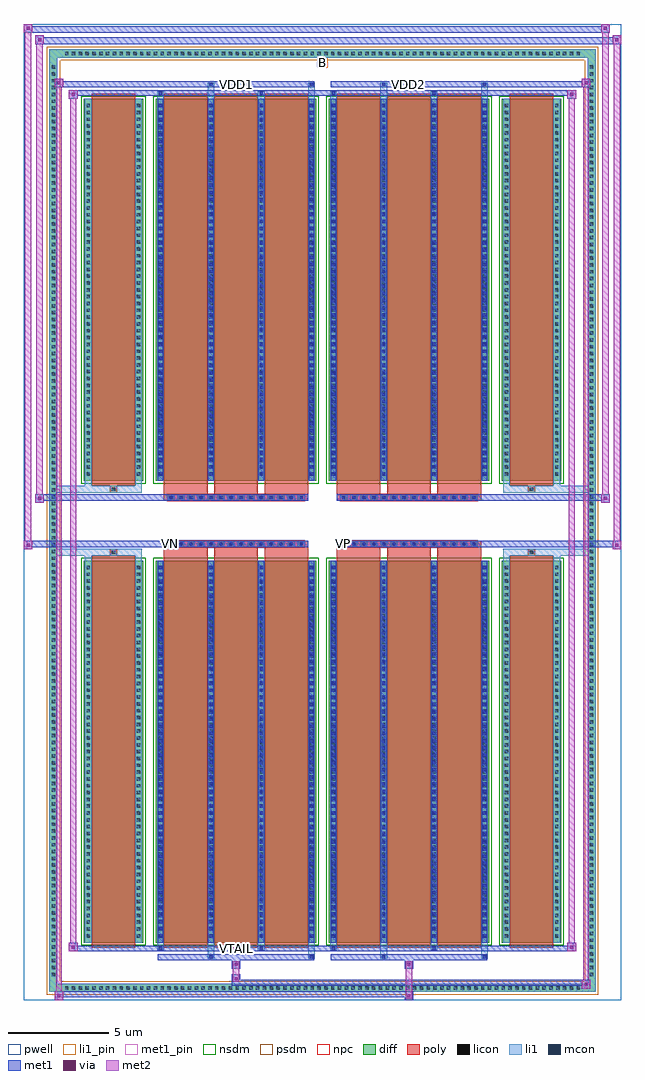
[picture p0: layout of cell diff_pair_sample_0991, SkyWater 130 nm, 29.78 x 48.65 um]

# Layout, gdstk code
import gdstk
lib = gdstk.Library(unit=1e-6, precision=5e-09)
def R(c, l, rs):  # rectangles x0, y0, x1, y1
    for r in rs: c.add(gdstk.rectangle(r[:2], r[2:], *l))
def A(c, l, x, y, w, h, nx, ny, dx, dy):  # array of equal rectangles
    R(c, l, [(x+i*dx, y+j*dy, x+i*dx+w, y+j*dy+h) for i in range(nx) for j in range(ny)])
def P(c, l, *ps):  # polygons
    for p in ps: c.add(gdstk.Polygon(p, *l))
pwell = (64, 44)
diff = (65, 20)
poly = (66, 20)
licon = (66, 44)
li1_pin = (67, 16)
li1 = (67, 20)
mcon = (67, 44)
met1_pin = (68, 16)
met1 = (68, 20)
via = (68, 44)
met2 = (69, 20)
nsdm = (93, 44)
psdm = (94, 20)
npc = (95, 20)

diff_pair_sample_0991 = lib.new_cell('diff_pair_sample_0991')
R(diff_pair_sample_0991, pwell, [(-14.89,-23.89,14.89,24.76), (-12.21,-22.08,-0.01,-0.8), (0.01,-22.08,12.21,-0.8), (-12.21,0.8,-0.01,22.08), (0.01,0.8,12.21,22.08)])
A(diff_pair_sample_0991, diff, -12.955, -23.49, 0.41, 0.41, 76, 2, 0.34, 46.57)
A(diff_pair_sample_0991, diff, -13.62, -22.815, 0.41, 0.41, 1, 134, 0, 0.34)
A(diff_pair_sample_0991, diff, 13.21, -22.815, 0.41, 0.41, 1, 134, 0, 0.34)
R(diff_pair_sample_0991, diff, [(-12.955,-23.49,12.955,-23.08), (-13.62,-22.815,-13.21,22.815), (13.21,-22.815,13.62,22.815), (-11.9,-21.035,-8.94,-1.985), (-8.3,-21.035,-0.32,-1.985), (0.32,-21.035,8.3,-1.985), (8.94,-21.035,11.9,-1.985), (-11.9,1.985,-8.94,21.035), (-8.3,1.985,-0.32,21.035), (0.32,1.985,8.3,21.035), (8.94,1.985,11.9,21.035), (-12.955,23.08,12.955,23.49)])
P(diff_pair_sample_0991, diff, [(13.62,23.49),(-13.62,23.49),(-13.62,-23.08),(-13.21,-23.08),(-13.21,23.08),(13.21,23.08),(13.21,-23.08),(-13.21,-23.08),(-13.62,-23.08),(-13.62,-23.49),(13.62,-23.49)])
A(diff_pair_sample_0991, poly, -7.91, -21.285, 2.18, 19.55, 3, 2, 2.51, 23.02)
A(diff_pair_sample_0991, poly, 0.71, -21.285, 2.18, 19.55, 3, 2, 2.51, 23.02)
A(diff_pair_sample_0991, poly, -7.91, -1.735, 2.18, 0.405, 3, 2, 2.51, 3.065)
A(diff_pair_sample_0991, poly, 0.71, -1.735, 2.18, 0.405, 3, 2, 2.51, 3.065)
A(diff_pair_sample_0991, poly, -7.725, -1.33, 0.33, 0.33, 14, 2, 0.5, 2.33)
A(diff_pair_sample_0991, poly, 0.895, -1.33, 0.33, 0.33, 14, 2, 0.5, 2.33)
R(diff_pair_sample_0991, poly, [(-11.51,-21.285,-9.33,-1.735), (9.33,-21.285,11.51,-1.735), (-10.585,-1.735,-10.255,-1.405), (-10.585,-1.735,-10.255,-1.405), (10.255,-1.735,10.585,-1.405), (10.255,-1.735,10.585,-1.405), (-7.91,-1.33,-0.71,-1), (0.71,-1.33,7.91,-1), (-7.91,1,-0.71,1.33), (0.71,1,7.91,1.33), (-10.585,1.405,-10.255,1.735), (-10.585,1.405,-10.255,1.735), (10.255,1.405,10.585,1.735), (10.255,1.405,10.585,1.735), (-11.51,1.735,-9.33,21.285), (9.33,1.735,11.51,21.285)])
A(diff_pair_sample_0991, licon, -12.835, -23.37, 0.17, 0.17, 76, 2, 0.34, 46.57)
A(diff_pair_sample_0991, licon, -13.5, -22.695, 0.17, 0.17, 1, 134, 0, 0.34)
A(diff_pair_sample_0991, licon, 13.33, -22.695, 0.17, 0.17, 1, 134, 0, 0.34)
A(diff_pair_sample_0991, licon, -11.76, -20.775, 0.17, 0.17, 1, 55, 0, 0.34)
A(diff_pair_sample_0991, licon, -9.25, -20.775, 0.17, 0.17, 1, 55, 0, 0.34)
A(diff_pair_sample_0991, licon, -8.16, -20.775, 0.17, 0.17, 4, 55, 2.51, 0.34)
A(diff_pair_sample_0991, licon, 0.46, -20.775, 0.17, 0.17, 4, 55, 2.51, 0.34)
A(diff_pair_sample_0991, licon, 9.08, -20.775, 0.17, 0.17, 1, 55, 0, 0.34)
A(diff_pair_sample_0991, licon, 11.59, -20.775, 0.17, 0.17, 1, 55, 0, 0.34)
A(diff_pair_sample_0991, licon, -7.645, -1.25, 0.17, 0.17, 14, 2, 0.5, 2.33)
A(diff_pair_sample_0991, licon, 0.975, -1.25, 0.17, 0.17, 14, 2, 0.5, 2.33)
A(diff_pair_sample_0991, licon, -11.76, 2.245, 0.17, 0.17, 1, 55, 0, 0.34)
A(diff_pair_sample_0991, licon, -9.25, 2.245, 0.17, 0.17, 1, 55, 0, 0.34)
A(diff_pair_sample_0991, licon, -8.16, 2.245, 0.17, 0.17, 4, 55, 2.51, 0.34)
A(diff_pair_sample_0991, licon, 0.46, 2.245, 0.17, 0.17, 4, 55, 2.51, 0.34)
A(diff_pair_sample_0991, licon, 9.08, 2.245, 0.17, 0.17, 1, 55, 0, 0.34)
A(diff_pair_sample_0991, licon, 11.59, 2.245, 0.17, 0.17, 1, 55, 0, 0.34)
R(diff_pair_sample_0991, licon, [(-10.505,-1.655,-10.335,-1.485), (10.335,-1.655,10.505,-1.485), (-10.505,1.485,-10.335,1.655), (10.335,1.485,10.505,1.655)])
R(diff_pair_sample_0991, li1_pin, [(-0.25,22.58,0.25,23.08)])
A(diff_pair_sample_0991, li1, -12.915, -23.45, 0.33, 0.33, 76, 2, 0.34, 46.57)
A(diff_pair_sample_0991, li1, -13.58, -22.775, 0.33, 0.33, 1, 134, 0, 0.34)
A(diff_pair_sample_0991, li1, 13.25, -22.775, 0.33, 0.33, 1, 134, 0, 0.34)
A(diff_pair_sample_0991, li1, -8.24, -21.035, 0.33, 19.05, 4, 2, 2.51, 23.02)
A(diff_pair_sample_0991, li1, 0.38, -21.035, 0.33, 19.05, 4, 2, 2.51, 23.02)
A(diff_pair_sample_0991, li1, -11.84, -20.855, 0.33, 0.33, 1, 55, 0, 0.34)
A(diff_pair_sample_0991, li1, -9.33, -20.855, 0.33, 0.33, 1, 55, 0, 0.34)
A(diff_pair_sample_0991, li1, -8.24, -20.855, 0.33, 0.33, 4, 55, 2.51, 0.34)
A(diff_pair_sample_0991, li1, 0.38, -20.855, 0.33, 0.33, 4, 55, 2.51, 0.34)
A(diff_pair_sample_0991, li1, 9, -20.855, 0.33, 0.33, 1, 55, 0, 0.34)
A(diff_pair_sample_0991, li1, 11.51, -20.855, 0.33, 0.33, 1, 55, 0, 0.34)
A(diff_pair_sample_0991, li1, -8.16, -20.775, 0.17, 0.17, 4, 52, 2.51, 0.36)
A(diff_pair_sample_0991, li1, -8.16, -20.775, 0.17, 18.53, 4, 2, 2.51, 23.02)
A(diff_pair_sample_0991, li1, 0.46, -20.775, 0.17, 0.17, 4, 52, 2.51, 0.36)
A(diff_pair_sample_0991, li1, 0.46, -20.775, 0.17, 18.53, 4, 2, 2.51, 23.02)
A(diff_pair_sample_0991, li1, -7.725, -1.33, 0.33, 0.33, 14, 2, 0.5, 2.33)
A(diff_pair_sample_0991, li1, 0.895, -1.33, 0.33, 0.33, 14, 2, 0.5, 2.33)
A(diff_pair_sample_0991, li1, -11.84, 2.165, 0.33, 0.33, 1, 55, 0, 0.34)
A(diff_pair_sample_0991, li1, -9.33, 2.165, 0.33, 0.33, 1, 55, 0, 0.34)
A(diff_pair_sample_0991, li1, -8.24, 2.165, 0.33, 0.33, 4, 55, 2.51, 0.34)
A(diff_pair_sample_0991, li1, 0.38, 2.165, 0.33, 0.33, 4, 55, 2.51, 0.34)
A(diff_pair_sample_0991, li1, 9, 2.165, 0.33, 0.33, 1, 55, 0, 0.34)
A(diff_pair_sample_0991, li1, 11.51, 2.165, 0.33, 0.33, 1, 55, 0, 0.34)
A(diff_pair_sample_0991, li1, -8.16, 2.245, 0.17, 0.17, 4, 52, 2.51, 0.36)
A(diff_pair_sample_0991, li1, 0.46, 2.245, 0.17, 0.17, 4, 52, 2.51, 0.36)
R(diff_pair_sample_0991, li1, [(-13.62,-23.49,-13.21,-23.08), (-13.62,-23.49,-13.21,-23.08), (-13.21,-23.49,13.21,-23.08), (13.21,-23.49,13.62,-23.08), (13.21,-23.49,13.62,-23.08), (-13.62,-23.08,-13.21,23.08), (13.21,-23.08,13.62,23.08), (-5.73,-21.84,-5.4,-21.035), (-5.65,-21.84,-5.48,-21.67), (-0.71,-21.84,-0.38,-21.035), (-0.63,-21.84,-0.46,-21.67), (2.89,-21.84,3.22,-21.035), (2.97,-21.84,3.14,-21.67), (7.91,-21.84,8.24,-21.035), (7.99,-21.84,8.16,-21.67), (-8.24,-21.41,-7.91,-21.035), (-8.16,-21.41,-7.99,-21.24), (-3.22,-21.41,-2.89,-21.035), (-3.14,-21.41,-2.97,-21.24), (0.38,-21.41,0.71,-21.035), (0.46,-21.41,0.63,-21.24), (5.4,-21.41,5.73,-21.035), (5.48,-21.41,5.65,-21.24), (-11.84,-21.035,-11.51,-1.985), (-9.33,-21.035,-9,-1.985), (9,-21.035,9.33,-1.985), (11.51,-21.035,11.84,-1.985), (-11.84,-1.985,-11.51,-1.405), (-9.33,-1.985,-9,-1.405), (9,-1.985,9.33,-1.405), (11.51,-1.985,11.84,-1.405), (-13.62,-1.735,-10.585,-1.405), (-11.84,-1.735,-10.585,-1.405), (-10.585,-1.735,-10.255,-1.405), (-10.255,-1.735,-9,-1.405), (9,-1.735,10.255,-1.405), (10.255,-1.735,10.585,-1.405), (10.255,-1.735,13.62,-1.405), (10.585,-1.735,11.84,-1.405), (-13.62,1.405,-10.585,1.735), (-11.84,1.405,-10.585,1.735), (-11.84,1.405,-11.51,1.985), (-10.585,1.405,-10.255,1.735), (-10.255,1.405,-9,1.735), (-9.33,1.405,-9,1.985), (9,1.405,10.255,1.735), (9,1.405,9.33,1.985), (10.255,1.405,10.585,1.735), (10.255,1.405,13.62,1.735), (10.585,1.405,11.84,1.735), (11.51,1.405,11.84,1.985), (-11.84,1.985,-11.51,21.035), (-9.33,1.985,-9,21.035), (9,1.985,9.33,21.035), (11.51,1.985,11.84,21.035), (-8.24,21.035,-7.91,21.41), (-5.73,21.035,-5.4,21.84), (-3.22,21.035,-2.89,21.41), (-0.71,21.035,-0.38,21.84), (0.38,21.035,0.71,21.41), (2.89,21.035,3.22,21.84), (5.4,21.035,5.73,21.41), (7.91,21.035,8.24,21.84), (-8.16,21.24,-7.99,21.41), (-3.14,21.24,-2.97,21.41), (0.46,21.24,0.63,21.41), (5.48,21.24,5.65,21.41), (-5.65,21.67,-5.48,21.84), (-0.63,21.67,-0.46,21.84), (2.97,21.67,3.14,21.84), (7.99,21.67,8.16,21.84), (-13.62,23.08,-13.21,23.49), (-13.62,23.08,-13.21,23.49), (-13.21,23.08,13.21,23.49), (13.21,23.08,13.62,23.49), (13.21,23.08,13.62,23.49)])
A(diff_pair_sample_0991, mcon, -8.16, -20.775, 0.17, 0.17, 4, 52, 2.51, 0.36)
A(diff_pair_sample_0991, mcon, 0.46, -20.775, 0.17, 0.17, 4, 52, 2.51, 0.36)
A(diff_pair_sample_0991, mcon, -7.645, -1.25, 0.17, 0.17, 14, 2, 0.5, 2.33)
A(diff_pair_sample_0991, mcon, 0.975, -1.25, 0.17, 0.17, 14, 2, 0.5, 2.33)
A(diff_pair_sample_0991, mcon, -8.16, 2.245, 0.17, 0.17, 4, 52, 2.51, 0.36)
A(diff_pair_sample_0991, mcon, 0.46, 2.245, 0.17, 0.17, 4, 52, 2.51, 0.36)
R(diff_pair_sample_0991, mcon, [(-5.65,-21.84,-5.48,-21.67), (-0.63,-21.84,-0.46,-21.67), (2.97,-21.84,3.14,-21.67), (7.99,-21.84,8.16,-21.67), (-8.16,-21.41,-7.99,-21.24), (-3.14,-21.41,-2.97,-21.24), (0.46,-21.41,0.63,-21.24), (5.48,-21.41,5.65,-21.24), (-8.16,21.24,-7.99,21.41), (-3.14,21.24,-2.97,21.41), (0.46,21.24,0.63,21.41), (5.48,21.24,5.65,21.41), (-5.65,21.67,-5.48,21.84), (-0.63,21.67,-0.46,21.84), (2.97,21.67,3.14,21.84), (7.99,21.67,8.16,21.84)])
R(diff_pair_sample_0991, met1_pin, [(-4.445,-21.45,-4.175,-21.18), (-7.695,-1.29,-7.425,-1.02), (0.925,-1.29,1.195,-1.02), (-4.445,21.63,-4.175,21.9), (4.175,21.63,4.445,21.9)])
A(diff_pair_sample_0991, met1, -8.22, -21.035, 0.29, 19.05, 4, 2, 2.51, 23.02)
A(diff_pair_sample_0991, met1, 0.4, -21.035, 0.29, 19.05, 4, 2, 2.51, 23.02)
A(diff_pair_sample_0991, met1, -8.22, -20.835, 0.29, 0.29, 4, 52, 2.51, 0.36)
A(diff_pair_sample_0991, met1, 0.4, -20.835, 0.29, 0.29, 4, 52, 2.51, 0.36)
A(diff_pair_sample_0991, met1, -7.705, -1.31, 0.29, 0.29, 14, 2, 0.5, 2.33)
A(diff_pair_sample_0991, met1, 0.915, -1.31, 0.29, 0.29, 14, 2, 0.5, 2.33)
A(diff_pair_sample_0991, met1, -8.22, 2.185, 0.29, 0.29, 4, 52, 2.51, 0.36)
A(diff_pair_sample_0991, met1, 0.4, 2.185, 0.29, 0.29, 4, 52, 2.51, 0.36)
R(diff_pair_sample_0991, met1, [(-13.35,-23.89,-12.92,-23.46), (4.095,-23.89,4.525,-23.46), (-13.35,-23.75,4.525,-23.46), (12.92,-23.32,13.35,-22.89), (-4.525,-23.18,13.35,-22.89), (-4.525,-23.04,-4.095,-22.61), (-4.525,-22.33,-4.095,-21.9), (4.095,-22.33,4.525,-21.9), (-8.22,-21.9,-0.4,-21.61), (-5.71,-21.9,-5.42,-21.61), (-0.69,-21.9,-0.4,-21.61), (0.4,-21.9,8.22,-21.61), (2.91,-21.9,3.2,-21.61), (7.93,-21.9,8.22,-21.61), (-12.64,-21.47,-12.21,-21.04), (-12.64,-21.47,-8.22,-21.18), (-8.22,-21.47,-7.93,-21.18), (-8.22,-21.47,-0.4,-21.18), (-3.2,-21.47,-2.91,-21.18), (-0.4,-21.47,0.4,-21.18), (0.4,-21.47,0.69,-21.18), (0.4,-21.47,8.22,-21.18), (5.42,-21.47,5.71,-21.18), (8.22,-21.47,12.64,-21.18), (12.21,-21.47,12.64,-21.04), (-14.89,-1.43,-14.46,-1), (14.46,-1.43,14.89,-1), (-14.89,-1.33,-0.71,-1), (-7.91,-1.33,-0.71,-1), (0.71,-1.33,7.91,-1), (0.71,-1.33,14.89,-1), (-14.32,0.9,-13.89,1.33), (13.89,0.9,14.32,1.33), (-14.32,1,-7.91,1.33), (-7.91,1,-0.71,1.33), (0.71,1,7.91,1.33), (7.91,1,14.32,1.33), (-12.64,21.04,-12.21,21.47), (12.21,21.04,12.64,21.47), (-12.64,21.18,-8.22,21.47), (-8.22,21.18,-7.93,21.47), (-8.22,21.18,-0.4,21.47), (-3.2,21.18,-2.91,21.47), (-0.4,21.18,0.4,21.47), (0.4,21.18,0.69,21.47), (0.4,21.18,8.22,21.47), (5.42,21.18,5.71,21.47), (8.22,21.18,12.64,21.47), (-13.35,21.61,-12.92,22.04), (-13.35,21.61,-8.22,21.9), (-8.22,21.61,-0.4,21.9), (-5.71,21.61,-5.42,21.9), (-0.69,21.61,-0.4,21.9), (0.4,21.61,8.22,21.9), (2.91,21.61,3.2,21.9), (7.93,21.61,8.22,21.9), (8.22,21.61,13.35,21.9), (12.92,21.61,13.35,22.04), (-14.32,23.76,-13.89,24.19), (-14.32,23.76,-12.21,24.09), (-12.21,23.76,12.21,24.09), (12.21,23.76,14.89,24.09), (14.46,23.76,14.89,24.19), (-14.89,24.33,-14.46,24.76), (-14.89,24.33,-12.21,24.66), (-12.21,24.33,12.21,24.66), (12.21,24.33,14.32,24.66), (13.89,24.33,14.32,24.76)])
R(diff_pair_sample_0991, via, [(-13.21,-23.75,-13.06,-23.6), (4.235,-23.75,4.385,-23.6), (13.06,-23.18,13.21,-23.03), (-4.385,-22.9,-4.235,-22.75), (-4.385,-22.19,-4.235,-22.04), (4.235,-22.19,4.385,-22.04), (-12.5,-21.33,-12.35,-21.18), (12.35,-21.33,12.5,-21.18), (-14.75,-1.29,-14.6,-1.14), (14.6,-1.29,14.75,-1.14), (-14.18,1.04,-14.03,1.19), (14.03,1.04,14.18,1.19), (-12.5,21.18,-12.35,21.33), (12.35,21.18,12.5,21.33), (-13.21,21.75,-13.06,21.9), (13.06,21.75,13.21,21.9), (-14.18,23.9,-14.03,24.05), (14.6,23.9,14.75,24.05), (-14.75,24.47,-14.6,24.62), (14.03,24.47,14.18,24.62)])
R(diff_pair_sample_0991, met2, [(-13.35,-23.89,-12.92,-23.46), (-13.28,-23.89,-12.99,22.04), (-12.99,-23.89,-12.92,-23.46), (-13.3,-23.84,-12.97,-23.51), (4.145,-23.84,4.475,-23.51), (4.145,-23.51,4.475,-22.28), (12.92,-23.32,13.35,-22.89), (12.99,-23.32,13.28,22.04), (13.28,-23.32,13.35,-22.89), (12.97,-23.27,13.3,-22.94), (-4.475,-22.99,-4.145,-22.66), (-4.475,-22.66,-4.145,-22.28), (-4.475,-22.28,-4.145,-21.95), (4.145,-22.28,4.475,-21.95), (-12.64,-21.47,-12.21,-21.04), (-12.57,-21.47,-12.28,21.47), (-12.28,-21.47,-12.21,-21.04), (12.21,-21.47,12.64,-21.04), (12.28,-21.47,12.57,21.47), (12.57,-21.47,12.64,-21.04), (-12.59,-21.42,-12.26,-21.09), (12.26,-21.42,12.59,-21.09), (-14.89,-1.43,-14.46,-1), (-14.84,-1.43,-14.51,24.76), (-14.51,-1.43,-14.46,-1), (14.46,-1.43,14.89,-1), (14.51,-1.43,14.84,24.19), (14.84,-1.43,14.89,-1), (-14.84,-1.38,-14.51,-1.05), (14.51,-1.38,14.84,-1.05), (-14.32,0.9,-13.89,1.33), (-14.27,0.9,-13.94,24.19), (-13.94,0.9,-13.89,1.33), (13.89,0.9,14.32,1.33), (13.94,0.9,14.27,24.76), (14.27,0.9,14.32,1.33), (-14.27,0.95,-13.94,1.28), (13.94,0.95,14.27,1.28), (-12.64,21.04,-12.21,21.47), (-12.28,21.04,-12.21,21.47), (12.21,21.04,12.64,21.47), (12.57,21.04,12.64,21.47), (-12.59,21.09,-12.26,21.42), (12.26,21.09,12.59,21.42), (-13.35,21.61,-12.92,22.04), (-12.99,21.61,-12.92,22.04), (12.92,21.61,13.35,22.04), (13.28,21.61,13.35,22.04), (-13.3,21.66,-12.97,21.99), (12.97,21.66,13.3,21.99), (-14.32,23.76,-13.89,24.19), (-13.94,23.76,-13.89,24.19), (14.46,23.76,14.89,24.19), (14.84,23.76,14.89,24.19), (-14.27,23.81,-13.94,24.14), (14.51,23.81,14.84,24.14), (-14.89,24.33,-14.46,24.76), (-14.51,24.33,-14.46,24.76), (13.89,24.33,14.32,24.76), (14.27,24.33,14.32,24.76), (-14.84,24.38,-14.51,24.71), (13.94,24.38,14.27,24.71)])
R(diff_pair_sample_0991, nsdm, [(-12.03,-21.165,-8.81,-1.855), (-8.43,-21.165,-0.19,-1.855), (0.19,-21.165,8.43,-1.855), (8.81,-21.165,12.03,-1.855), (-12.03,1.855,-8.81,21.165), (-8.43,1.855,-0.19,21.165), (0.19,1.855,8.43,21.165), (8.81,1.855,12.03,21.165)])
P(diff_pair_sample_0991, psdm, [(13.75,23.62),(-13.75,23.62),(-13.75,-22.95),(-13.08,-22.95),(-13.08,22.95),(13.08,22.95),(13.08,-22.95),(-13.08,-22.95),(-13.75,-22.95),(-13.75,-23.62),(13.75,-23.62)])
A(diff_pair_sample_0991, npc, -7.745, -1.35, 0.37, 0.37, 14, 2, 0.5, 2.33)
A(diff_pair_sample_0991, npc, 0.875, -1.35, 0.37, 0.37, 14, 2, 0.5, 2.33)
R(diff_pair_sample_0991, npc, [(-10.605,-1.755,-10.235,-1.385), (10.235,-1.755,10.605,-1.385), (-7.745,-1.35,-6.875,-0.98), (-7.745,-1.35,-6.875,-0.98), (-7.245,-1.35,-6.375,-0.98), (-7.245,-1.35,-6.375,-0.98), (-6.745,-1.35,-5.875,-0.98), (-6.745,-1.35,-5.875,-0.98), (-6.245,-1.35,-5.375,-0.98), (-6.245,-1.35,-5.375,-0.98), (-5.745,-1.35,-4.875,-0.98), (-5.745,-1.35,-4.875,-0.98), (-5.245,-1.35,-4.375,-0.98), (-5.245,-1.35,-4.375,-0.98), (-4.745,-1.35,-3.875,-0.98), (-4.745,-1.35,-3.875,-0.98), (-4.245,-1.35,-3.375,-0.98), (-4.245,-1.35,-3.375,-0.98), (-3.745,-1.35,-2.875,-0.98), (-3.745,-1.35,-2.875,-0.98), (-3.245,-1.35,-2.375,-0.98), (-3.245,-1.35,-2.375,-0.98), (-2.745,-1.35,-1.875,-0.98), (-2.745,-1.35,-1.875,-0.98), (-2.245,-1.35,-1.375,-0.98), (-2.245,-1.35,-1.375,-0.98), (-1.745,-1.35,-0.875,-0.98), (-1.745,-1.35,-0.875,-0.98), (0.875,-1.35,1.745,-0.98), (0.875,-1.35,1.745,-0.98), (1.375,-1.35,2.245,-0.98), (1.375,-1.35,2.245,-0.98), (1.875,-1.35,2.745,-0.98), (1.875,-1.35,2.745,-0.98), (2.375,-1.35,3.245,-0.98), (2.375,-1.35,3.245,-0.98), (2.875,-1.35,3.745,-0.98), (2.875,-1.35,3.745,-0.98), (3.375,-1.35,4.245,-0.98), (3.375,-1.35,4.245,-0.98), (3.875,-1.35,4.745,-0.98), (3.875,-1.35,4.745,-0.98), (4.375,-1.35,5.245,-0.98), (4.375,-1.35,5.245,-0.98), (4.875,-1.35,5.745,-0.98), (4.875,-1.35,5.745,-0.98), (5.375,-1.35,6.245,-0.98), (5.375,-1.35,6.245,-0.98), (5.875,-1.35,6.745,-0.98), (5.875,-1.35,6.745,-0.98), (6.375,-1.35,7.245,-0.98), (6.375,-1.35,7.245,-0.98), (6.875,-1.35,7.745,-0.98), (6.875,-1.35,7.745,-0.98), (-7.745,0.98,-6.875,1.35), (-7.745,0.98,-6.875,1.35), (-7.245,0.98,-6.375,1.35), (-7.245,0.98,-6.375,1.35), (-6.745,0.98,-5.875,1.35), (-6.745,0.98,-5.875,1.35), (-6.245,0.98,-5.375,1.35), (-6.245,0.98,-5.375,1.35), (-5.745,0.98,-4.875,1.35), (-5.745,0.98,-4.875,1.35), (-5.245,0.98,-4.375,1.35), (-5.245,0.98,-4.375,1.35), (-4.745,0.98,-3.875,1.35), (-4.745,0.98,-3.875,1.35), (-4.245,0.98,-3.375,1.35), (-4.245,0.98,-3.375,1.35), (-3.745,0.98,-2.875,1.35), (-3.745,0.98,-2.875,1.35), (-3.245,0.98,-2.375,1.35), (-3.245,0.98,-2.375,1.35), (-2.745,0.98,-1.875,1.35), (-2.745,0.98,-1.875,1.35), (-2.245,0.98,-1.375,1.35), (-2.245,0.98,-1.375,1.35), (-1.745,0.98,-0.875,1.35), (-1.745,0.98,-0.875,1.35), (0.875,0.98,1.745,1.35), (0.875,0.98,1.745,1.35), (1.375,0.98,2.245,1.35), (1.375,0.98,2.245,1.35), (1.875,0.98,2.745,1.35), (1.875,0.98,2.745,1.35), (2.375,0.98,3.245,1.35), (2.375,0.98,3.245,1.35), (2.875,0.98,3.745,1.35), (2.875,0.98,3.745,1.35), (3.375,0.98,4.245,1.35), (3.375,0.98,4.245,1.35), (3.875,0.98,4.745,1.35), (3.875,0.98,4.745,1.35), (4.375,0.98,5.245,1.35), (4.375,0.98,5.245,1.35), (4.875,0.98,5.745,1.35), (4.875,0.98,5.745,1.35), (5.375,0.98,6.245,1.35), (5.375,0.98,6.245,1.35), (5.875,0.98,6.745,1.35), (5.875,0.98,6.745,1.35), (6.375,0.98,7.245,1.35), (6.375,0.98,7.245,1.35), (6.875,0.98,7.745,1.35), (6.875,0.98,7.745,1.35), (-10.605,1.385,-10.235,1.755), (10.235,1.385,10.605,1.755)])
diff_pair_sample_0991.add(gdstk.Label('VTAIL', (-4.31,-21.315), layer=68, texttype=5))
diff_pair_sample_0991.add(gdstk.Label('VN', (-7.56,-1.155), layer=68, texttype=5))
diff_pair_sample_0991.add(gdstk.Label('VP', (1.06,-1.155), layer=68, texttype=5))
diff_pair_sample_0991.add(gdstk.Label('B', (0,22.83), layer=67, texttype=5))
diff_pair_sample_0991.add(gdstk.Label('VDD2', (4.31,21.765), layer=68, texttype=5))
diff_pair_sample_0991.add(gdstk.Label('VDD1', (-4.31,21.765), layer=68, texttype=5))

lib.write_gds('diff_pair_sample_0991.gds')
